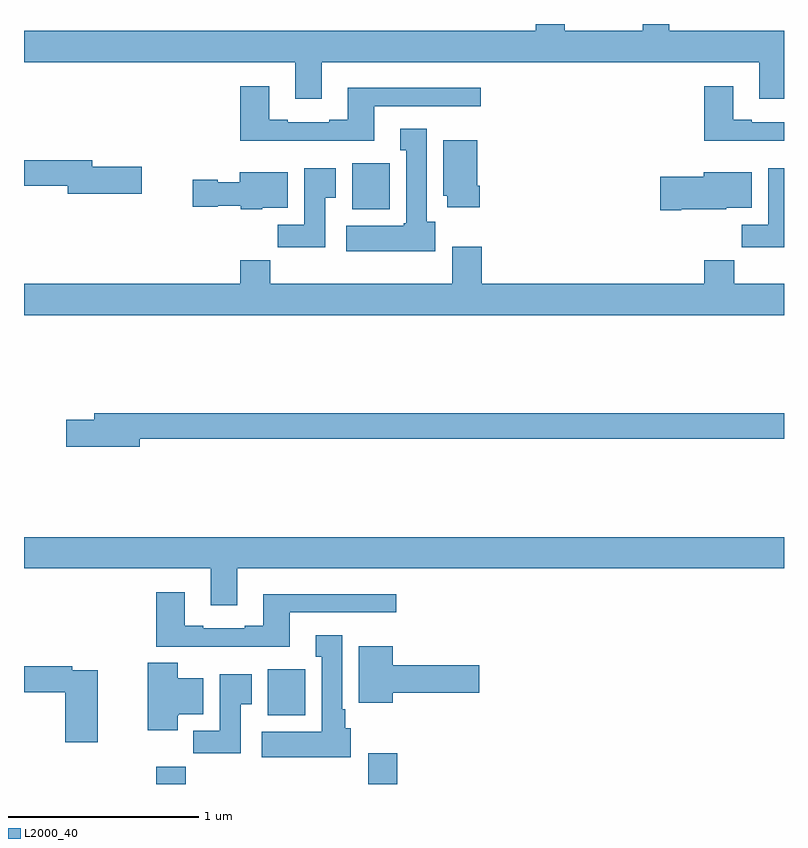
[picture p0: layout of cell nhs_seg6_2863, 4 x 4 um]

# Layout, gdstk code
import gdstk
lib = gdstk.Library(unit=1e-6, precision=1e-09)
def R(c, l, rs):  # rectangles x0, y0, x1, y1
    for r in rs: c.add(gdstk.rectangle(r[:2], r[2:], *l))
def P(c, l, *ps):  # polygons
    for p in ps: c.add(gdstk.Polygon(p, *l))
L2000_40 = (2000, 40)

nhs_seg6_2863 = lib.new_cell('nhs_seg6_2863')
R(nhs_seg6_2863, L2000_40, [(279.695,979.5,279.851,979.592), (280.811,979.5,280.964,979.663), (280.283,979.862,280.48,980.104), (280.727,982.526,280.924,982.768)])
P(nhs_seg6_2863, L2000_40, [(282.869,983.106),(283,983.106),(283,983.464),(282.397,983.464),(282.397,983.5),(282.257,983.5),(282.257,983.464),(281.845,983.464),(281.845,983.5),(281.693,983.5),(281.693,983.464),(279,983.464),(279,983.3),(280.427,983.3),(280.427,983.106),(280.567,983.106),(280.567,983.3),(282.869,983.3)],
  [(283,982.983),(282.829,982.983),(282.829,982.996),(282.733,982.996),(282.733,983.173),(282.581,983.173),(282.581,982.886),(283,982.886)],
  [(280.843,983.067),(281.404,983.067),(281.404,983.164),(280.703,983.164),(280.703,982.996),(280.607,982.996),(280.607,982.983),(280.387,982.983),(280.387,982.996),(280.291,982.996),(280.291,983.173),(280.139,983.173),(280.139,982.886),(280.843,982.886)],
  [(281.164,982.458),(281.119,982.458),(281.119,982.948),(280.979,982.948),(280.979,982.835),(281.012,982.835),(281.012,982.452),(280.999,982.452),(280.999,982.438),(280.695,982.438),(280.695,982.304),(281.164,982.304)],
  [(281.399,982.648),(281.386,982.648),(281.386,982.888),(281.207,982.888),(281.207,982.596),(281.228,982.596),(281.228,982.536),(281.399,982.536)],
  [(279.619,982.748),(279.358,982.748),(279.358,982.784),(279,982.784),(279,982.648),(279.23,982.648),(279.23,982.606),(279.619,982.606)],
  [(280.585,982.585),(280.642,982.585),(280.642,982.741),(280.475,982.741),(280.475,982.444),(280.336,982.444),(280.336,982.326),(280.585,982.326)],
  [(283,982.741),(282.917,982.741),(282.917,982.444),(282.778,982.444),(282.778,982.326),(283,982.326)],
  [(280.254,982.532),(280.387,982.532),(280.387,982.72),(280.136,982.72),(280.136,982.666),(280.02,982.666),(280.02,982.679),(279.888,982.679),(279.888,982.537),(280.02,982.537),(280.02,982.544),(280.14,982.544),(280.14,982.526),(280.254,982.526)],
  [(282.46,982.526),(282.696,982.526),(282.696,982.532),(282.829,982.532),(282.829,982.72),(282.578,982.72),(282.578,982.697),(282.348,982.697),(282.348,982.519),(282.46,982.519)],
  [(283,982.132),(282.737,982.132),(282.737,982.256),(282.581,982.256),(282.581,982.132),(281.408,982.132),(281.408,982.327),(281.255,982.327),(281.255,982.132),(280.295,982.132),(280.295,982.256),(280.139,982.256),(280.139,982.132),(279,982.132),(279,981.968),(283,981.968)],
  [(279.61,981.316),(283,981.316),(283,981.452),(279.371,981.452),(279.371,981.416),(279.222,981.416),(279.222,981.274),(279.61,981.274)],
  [(280.123,980.636),(283,980.636),(283,980.8),(279,980.8),(279,980.636),(279.983,980.636),(279.983,980.442),(280.123,980.442)],
  [(280.399,980.403),(280.96,980.403),(280.96,980.5),(280.259,980.5),(280.259,980.332),(280.163,980.332),(280.163,980.319),(279.943,980.319),(279.943,980.332),(279.847,980.332),(279.847,980.509),(279.695,980.509),(279.695,980.223),(279.935,980.223),(279.935,980.222),(280.399,980.222)],
  [(280.72,979.794),(280.69,979.794),(280.69,979.894),(280.675,979.894),(280.675,980.284),(280.535,980.284),(280.535,980.171),(280.568,980.171),(280.568,979.774),(280.251,979.774),(280.251,979.64),(280.72,979.64)],
  [(280.942,979.979),(281.395,979.979),(281.395,980.126),(280.942,980.126),(280.942,980.224),(280.763,980.224),(280.763,979.928),(280.942,979.928)],
  [(279.808,979.862),(279.814,979.862),(279.814,979.868),(279.943,979.868),(279.943,980.056),(279.808,980.056),(279.808,980.138),(279.65,980.138),(279.65,979.782),(279.808,979.782)],
  [(279.388,980.1),(279.254,980.1),(279.254,980.12),(279,980.12),(279,979.984),(279.218,979.984),(279.218,979.719),(279.388,979.719)],
  [(280.141,979.921),(280.198,979.921),(280.198,980.077),(280.031,980.077),(280.031,979.78),(279.892,979.78),(279.892,979.662),(280.141,979.662)])

lib.write_gds('nhs_seg6_2863.gds')
